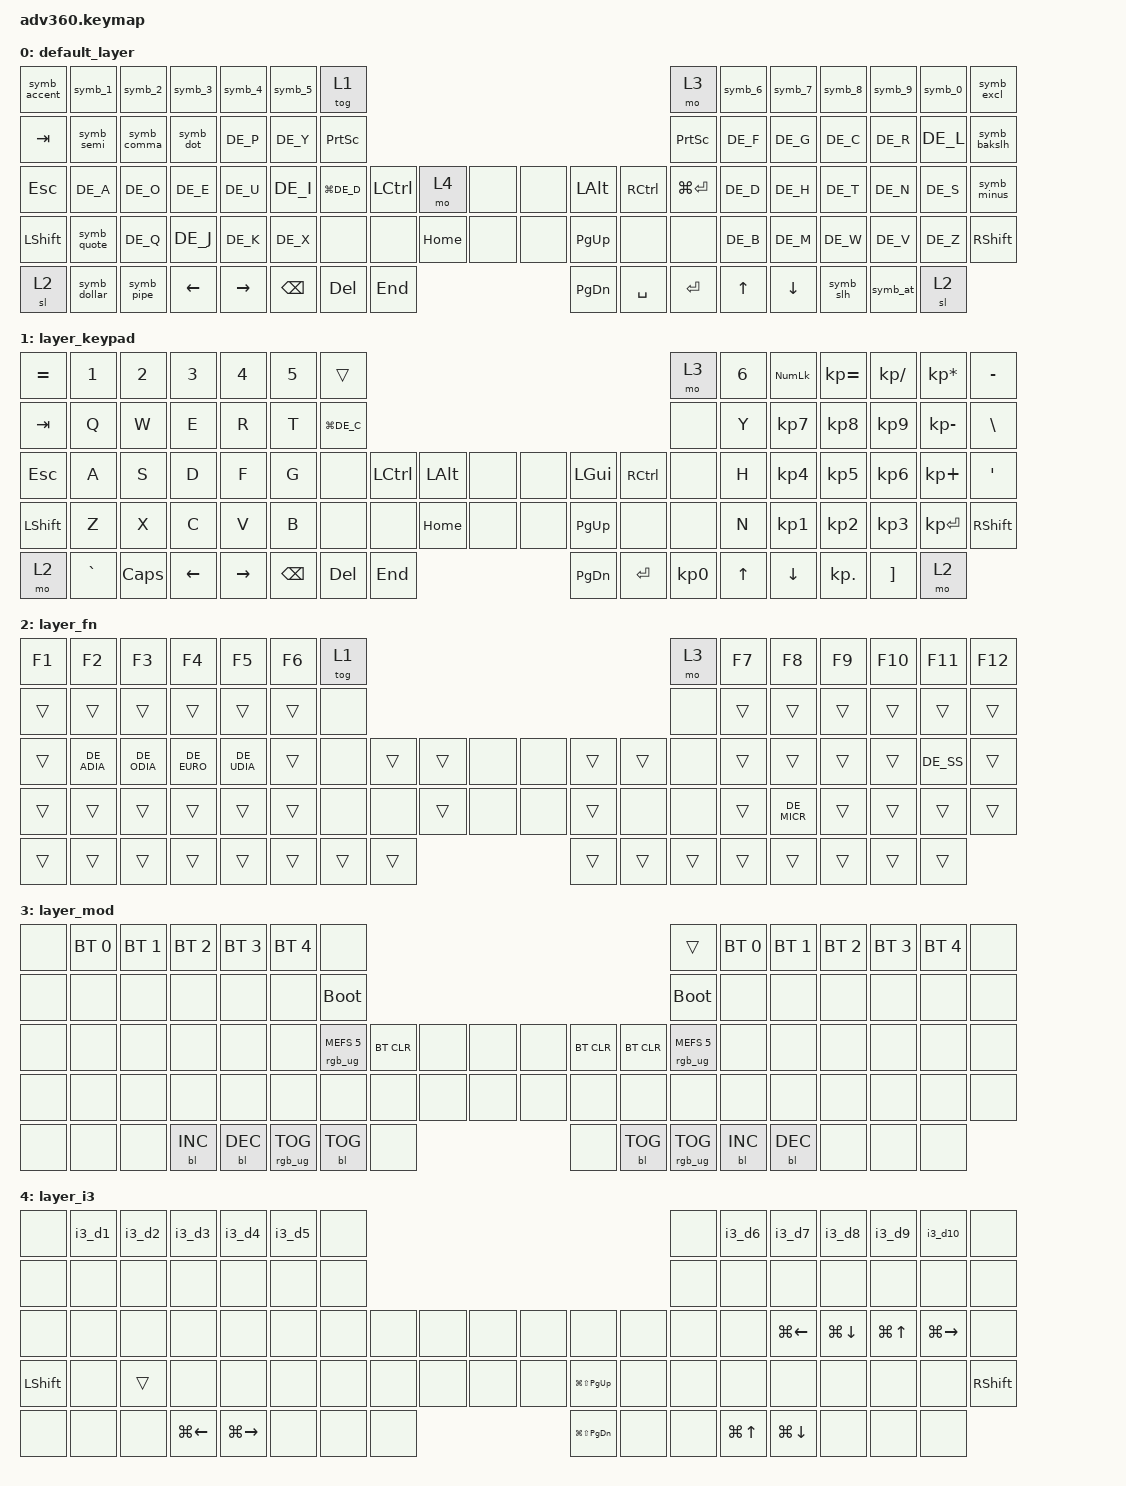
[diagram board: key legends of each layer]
/*
 * Copyright (c) 2020 The ZMK Contributors
 *
 * SPDX-License-Identifier: MIT
 */


/* THIS FILE WAS GENERATED!
 *
 * This file was generated automatically. You may or may not want to
 * edit it directly.
 */

#include <behaviors.dtsi>
#include <dt-bindings/zmk/keys.h>
#include <dt-bindings/zmk/bt.h>
#include <dt-bindings/zmk/rgb.h>
#include <dt-bindings/zmk/backlight.h>
#include "keys_de.h"

/ {
  behaviors {
    #include "macros.dtsi"
    #include "behaviors.dtsi"
  };

  keymap {
      compatible = "zmk,keymap";


        default_layer {
            bindings = <
 &symb_accent &symb_1      &symb_2      &symb_3      &symb_4   &symb_5         &tog 1                                                                       &mo 3    &symb_6    &symb_7 &symb_8      &symb_9    &symb_0   &symb_excl
 &kp TAB      &symb_semi   &symb_comma  &symb_dot    &kp DE_P  &kp DE_Y        &kp PRINTSCREEN                                                                    &kp PRINTSCREEN  &kp DE_F  &kp DE_G  &kp DE_C     &kp DE_R   &kp DE_L  &symb_bakslh
 &kp ESC      &kp DE_A     &kp DE_O     &kp DE_E     &kp DE_U  &kp DE_I        &kp LG(DE_D)  &kp LCTRL  &mo 4      &none   &none   &kp LALT  &kp RCTRL            &kp LG(ENTER)  &kp DE_D  &kp DE_H  &kp DE_T     &kp DE_N   &kp DE_S  &symb_minus
 &kp LSHFT    &symb_quote  &kp DE_Q     &kp DE_J     &kp DE_K  &kp DE_X        &none      &none  &kp HOME   &none   &none  &kp PG_UP      &none            &none  &kp DE_B  &kp DE_M  &kp DE_W     &kp DE_V   &kp DE_Z    &kp RSHFT
 &sl 2        &symb_dollar &symb_pipe   &kp LEFT     &kp RIGHT                 &kp BSPC    &kp DEL   &kp END                  &kp PG_DN  &kp SPACE        &kp ENTER              &kp UP  &kp DOWN  &symb_slh  &symb_at    &sl 2
            >;
        };

        layer_keypad {
            bindings = <
 &kp EQUAL     &kp N1    &kp N2    &kp N3     &kp N4  &kp N5        &trans                                                                 &mo 3  &kp N6  &kp KP_NUM  &kp KP_EQUAL  &kp KP_DIVIDE  &kp KP_MULTIPLY  &kp MINUS
   &kp TAB      &kp Q     &kp W     &kp E      &kp R   &kp T  &kp LG(DE_C)                                                                 &none   &kp Y   &kp KP_N7     &kp KP_N8      &kp KP_N9     &kp KP_MINUS   &kp BSLH
   &kp ESC      &kp A     &kp S     &kp D      &kp F   &kp G         &none  &kp LCTRL  &kp LALT   &none   &none   &kp LGUI  &kp RCTRL      &none   &kp H   &kp KP_N4     &kp KP_N5      &kp KP_N6      &kp KP_PLUS    &kp SQT
 &kp LSHFT      &kp Z     &kp X     &kp C      &kp V   &kp B         &none      &none  &kp HOME   &none   &none  &kp PG_UP      &none      &none   &kp N   &kp KP_N1     &kp KP_N2      &kp KP_N3     &kp KP_ENTER  &kp RSHFT
     &mo 2  &kp GRAVE  &kp CAPS  &kp LEFT  &kp RIGHT              &kp BSPC    &kp DEL   &kp END                  &kp PG_DN  &kp ENTER  &kp KP_N0              &kp UP      &kp DOWN     &kp KP_DOT         &kp RBKT      &mo 2
            >;
        };

        layer_fn {
            bindings = <
 &kp F1       &kp F2       &kp F3       &kp F4       &kp F5  &kp F6  &tog 1                                                   &mo 3  &kp F7       &kp F8  &kp F9  &kp F10    &kp F11  &kp F12
 &trans       &trans       &trans       &trans       &trans  &trans   &none                                                   &none  &trans       &trans  &trans   &trans     &trans   &trans
 &trans  &kp DE_ADIA  &kp DE_ODIA  &kp DE_EURO  &kp DE_UDIA  &trans   &none  &trans  &trans   &none   &none  &trans  &trans   &none  &trans       &trans  &trans   &trans  &kp DE_SS   &trans
 &trans       &trans       &trans       &trans       &trans  &trans   &none   &none  &trans   &none   &none  &trans   &none   &none  &trans  &kp DE_MICR  &trans   &trans     &trans   &trans
 &trans       &trans       &trans       &trans       &trans          &trans  &trans  &trans                  &trans  &trans  &trans               &trans  &trans   &trans     &trans   &trans
            >;
        };

        layer_mod {
            bindings = <
  &none  &bt BT_SEL 0  &bt BT_SEL 1  &bt BT_SEL 2  &bt BT_SEL 3  &bt BT_SEL 4                   &none                                                                              &trans  &bt BT_SEL 0  &bt BT_SEL 1  &bt BT_SEL 2  &bt BT_SEL 3  &bt BT_SEL 4   &none
  &none         &none         &none         &none         &none         &none             &bootloader                                                                         &bootloader         &none         &none         &none         &none         &none   &none
  &none         &none         &none         &none         &none         &none  &rgb_ug RGB_MEFS_CMD 5  &bt BT_CLR   &none   &none   &none  &bt BT_CLR  &bt BT_CLR  &rgb_ug RGB_MEFS_CMD 5         &none         &none         &none         &none         &none   &none
  &none         &none         &none         &none         &none         &none                   &none       &none   &none   &none   &none       &none       &none                   &none         &none         &none         &none         &none         &none   &none
  &none         &none         &none    &bl BL_INC    &bl BL_DEC                       &rgb_ug RGB_TOG  &bl BL_TOG   &none                       &none  &bl BL_TOG         &rgb_ug RGB_TOG                  &bl BL_INC    &bl BL_DEC         &none         &none   &none
            >;
        };

        layer_i3 {
            bindings = <
  &none         &i3_d1        &i3_d2        &i3_d3        &i3_d4        &i3_d5                  &none                                                                              &none          &i3_d6        &i3_d7        &i3_d8        &i3_d9        &i3_d10 &none
  &none         &none         &none         &none         &none         &none                   &none                                                                              &none          &none         &none         &none         &none         &none   &none
  &none         &none         &none         &none         &none         &none                   &none       &none   &none   &none   &none       &none       &none                  &none          &none         &kp LG(LEFT)  &kp LG(DOWN)    &kp LG(UP)  &kp LG(RIGHT) &none
  &kp LSHIFT    &none         &trans        &none         &none         &none                   &none       &none   &none   &none   &none       &kp LG(LS(PG_UP))       &none          &none          &none         &none         &none         &none         &none   &kp RSHIFT
  &none         &none         &none         &kp LG(LEFT)  &kp LG(RIGHT)                         &none               &none    &none                       &kp LG(LS(PG_DN))  &none          &none                   &kp LG(UP)     &kp LG(DOWN)          &none         &none   &none
            >;
        };

    };
};
